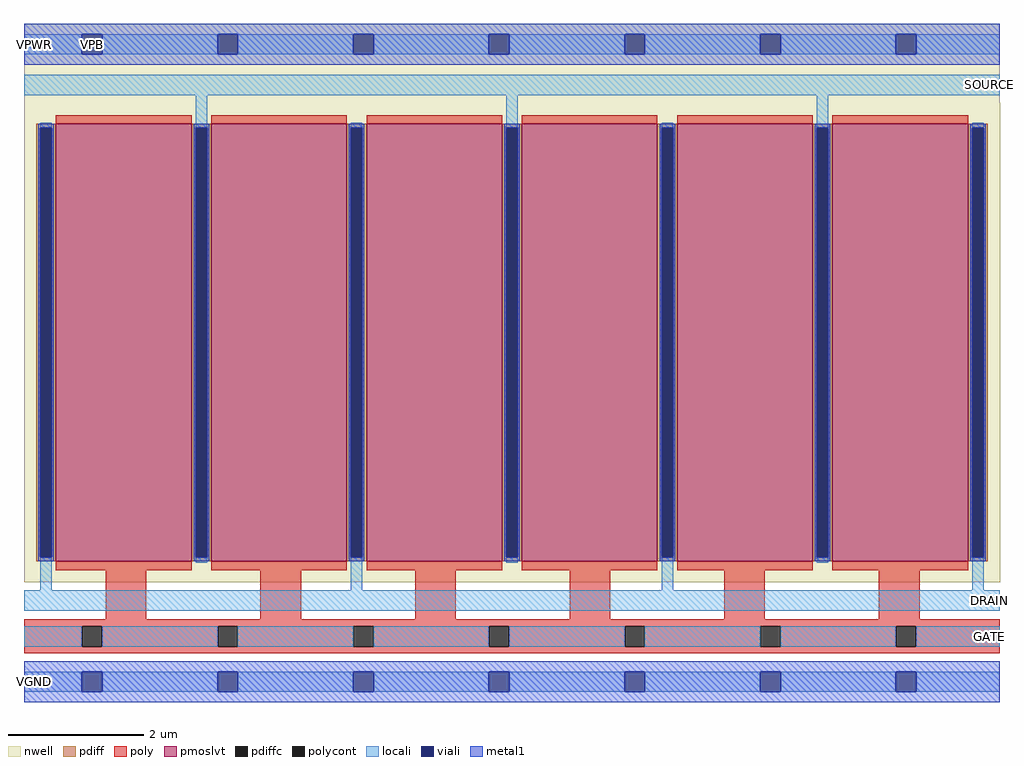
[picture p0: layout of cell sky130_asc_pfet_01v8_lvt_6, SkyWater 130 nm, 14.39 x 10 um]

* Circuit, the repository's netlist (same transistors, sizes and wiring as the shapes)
* NGSPICE file created from sky130_asc_pfet_01v8_lvt_6.ext - technology: sky130A

.subckt sky130_asc_pfet_01v8_lvt_6 GATE SOURCE DRAIN VGND VPWR
X0 SOURCE GATE DRAIN VPWR sky130_fd_pr__pfet_01v8_lvt ad=5.6115e+12p pd=4.044e+07u as=7.482e+12p ps=5.392e+07u w=6.45e+06u l=2e+06u
X1 SOURCE GATE DRAIN VPWR sky130_fd_pr__pfet_01v8_lvt ad=0p pd=0u as=0p ps=0u w=6.45e+06u l=2e+06u
X2 DRAIN GATE SOURCE VPWR sky130_fd_pr__pfet_01v8_lvt ad=0p pd=0u as=0p ps=0u w=6.45e+06u l=2e+06u
X3 DRAIN GATE SOURCE VPWR sky130_fd_pr__pfet_01v8_lvt ad=0p pd=0u as=0p ps=0u w=6.45e+06u l=2e+06u
X4 SOURCE GATE DRAIN VPWR sky130_fd_pr__pfet_01v8_lvt ad=0p pd=0u as=0p ps=0u w=6.45e+06u l=2e+06u
X5 DRAIN GATE SOURCE VPWR sky130_fd_pr__pfet_01v8_lvt ad=0p pd=0u as=0p ps=0u w=6.45e+06u l=2e+06u
.ends

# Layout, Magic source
magic
tech sky130A
magscale 1 2
<< nwell >>
rect 2 1707 2878 1940
rect 1 293 2879 1707
<< pmoslvt >>
rect 95 355 495 1645
rect 553 355 953 1645
rect 1011 355 1411 1645
rect 1469 355 1869 1645
rect 1927 355 2327 1645
rect 2385 355 2785 1645
<< pdiff >>
rect 37 1633 95 1645
rect 37 367 49 1633
rect 83 367 95 1633
rect 37 355 95 367
rect 495 1633 553 1645
rect 495 367 507 1633
rect 541 367 553 1633
rect 495 355 553 367
rect 953 1633 1011 1645
rect 953 367 965 1633
rect 999 367 1011 1633
rect 953 355 1011 367
rect 1411 1633 1469 1645
rect 1411 367 1423 1633
rect 1457 367 1469 1633
rect 1411 355 1469 367
rect 1869 1633 1927 1645
rect 1869 367 1881 1633
rect 1915 367 1927 1633
rect 1869 355 1927 367
rect 2327 1633 2385 1645
rect 2327 367 2339 1633
rect 2373 367 2385 1633
rect 2327 355 2385 367
rect 2785 1633 2843 1645
rect 2785 367 2797 1633
rect 2831 367 2843 1633
rect 2785 355 2843 367
<< pdiffc >>
rect 49 367 83 1633
rect 507 367 541 1633
rect 965 367 999 1633
rect 1423 367 1457 1633
rect 1881 367 1915 1633
rect 2339 367 2373 1633
rect 2797 367 2831 1633
<< poly >>
rect 95 1645 495 1671
rect 553 1645 953 1671
rect 1011 1645 1411 1671
rect 1469 1645 1869 1671
rect 1927 1645 2327 1671
rect 2385 1645 2785 1671
rect 95 329 495 355
rect 553 329 953 355
rect 1011 329 1411 355
rect 1469 329 1869 355
rect 1927 329 2327 355
rect 2385 329 2785 355
rect 242 184 362 329
rect 698 184 818 329
rect 1154 184 1274 329
rect 1610 184 1730 329
rect 2066 184 2186 329
rect 2522 184 2642 329
rect 2 164 2878 184
rect 2 104 172 164
rect 232 104 572 164
rect 632 104 972 164
rect 1032 104 1372 164
rect 1432 104 1772 164
rect 1832 104 2172 164
rect 2232 104 2572 164
rect 2632 104 2878 164
rect 2 84 2878 104
<< polycont >>
rect 172 104 232 164
rect 572 104 632 164
rect 972 104 1032 164
rect 1372 104 1432 164
rect 1772 104 1832 164
rect 2172 104 2232 164
rect 2572 104 2632 164
<< locali >>
rect 2 1850 172 1910
rect 232 1850 572 1910
rect 632 1850 972 1910
rect 1032 1850 1372 1910
rect 1432 1850 1772 1910
rect 1832 1850 2172 1910
rect 2232 1850 2572 1910
rect 2632 1850 2878 1910
rect 2 1730 2878 1790
rect 49 1633 83 1649
rect 49 270 83 367
rect 507 1633 541 1730
rect 507 351 541 367
rect 965 1633 999 1649
rect 965 270 999 367
rect 1423 1633 1457 1730
rect 1423 351 1457 367
rect 1881 1633 1915 1649
rect 1881 270 1915 367
rect 2339 1633 2373 1730
rect 2339 351 2373 367
rect 2797 1633 2831 1649
rect 2797 270 2831 367
rect 2 210 2878 270
rect 2 104 172 164
rect 232 104 572 164
rect 632 104 972 164
rect 1032 104 1372 164
rect 1432 104 1772 164
rect 1832 104 2172 164
rect 2232 104 2572 164
rect 2632 104 2878 164
rect 2 -30 172 30
rect 232 -30 572 30
rect 632 -30 972 30
rect 1032 -30 1372 30
rect 1432 -30 1772 30
rect 1832 -30 2172 30
rect 2232 -30 2572 30
rect 2632 -30 2878 30
<< viali >>
rect 172 1850 232 1910
rect 572 1850 632 1910
rect 972 1850 1032 1910
rect 1372 1850 1432 1910
rect 1772 1850 1832 1910
rect 2172 1850 2232 1910
rect 2572 1850 2632 1910
rect 49 367 83 1633
rect 507 367 541 1633
rect 965 367 999 1633
rect 1423 367 1457 1633
rect 1881 367 1915 1633
rect 2339 367 2373 1633
rect 2797 367 2831 1633
rect 172 -30 232 30
rect 572 -30 632 30
rect 972 -30 1032 30
rect 1372 -30 1432 30
rect 1772 -30 1832 30
rect 2172 -30 2232 30
rect 2572 -30 2632 30
<< metal1 >>
rect 2 1910 2878 1940
rect 2 1850 172 1910
rect 232 1850 572 1910
rect 632 1850 972 1910
rect 1032 1850 1372 1910
rect 1432 1850 1772 1910
rect 1832 1850 2172 1910
rect 2232 1850 2572 1910
rect 2632 1850 2878 1910
rect 2 1820 2878 1850
rect 43 1633 89 1645
rect 43 367 49 1633
rect 83 367 89 1633
rect 43 355 89 367
rect 501 1633 547 1645
rect 501 367 507 1633
rect 541 367 547 1633
rect 501 355 547 367
rect 959 1633 1005 1645
rect 959 367 965 1633
rect 999 367 1005 1633
rect 959 355 1005 367
rect 1417 1633 1463 1645
rect 1417 367 1423 1633
rect 1457 367 1463 1633
rect 1417 355 1463 367
rect 1875 1633 1921 1645
rect 1875 367 1881 1633
rect 1915 367 1921 1633
rect 1875 355 1921 367
rect 2333 1633 2379 1645
rect 2333 367 2339 1633
rect 2373 367 2379 1633
rect 2333 355 2379 367
rect 2791 1633 2837 1645
rect 2791 367 2797 1633
rect 2831 367 2837 1633
rect 2791 355 2837 367
rect 2 30 2878 60
rect 2 -30 172 30
rect 232 -30 572 30
rect 632 -30 972 30
rect 1032 -30 1372 30
rect 1432 -30 1772 30
rect 1832 -30 2172 30
rect 2232 -30 2572 30
rect 2632 -30 2878 30
rect 2 -60 2878 -30
<< labels >>
flabel nwell 172 1850 232 1910 1 FreeSans 800 0 0 0 VPB
port 4 n power bidirectional
flabel metal1 2 1850 62 1910 1 FreeSans 800 0 0 0 VPWR
port 5 n power bidirectional
flabel metal1 2 -30 62 30 1 FreeSans 800 0 0 0 VGND
port 6 n ground bidirectional
flabel locali 2818 1730 2878 1790 1 FreeSans 800 0 0 0 SOURCE
port 2 n signal bidirectional
flabel locali 2818 210 2878 270 1 FreeSans 800 0 0 0 DRAIN
port 3 n signal bidirectional
flabel locali 2818 104 2878 164 1 FreeSans 800 0 0 0 GATE
port 1 n signal bidirectional
<< properties >>
string FIXED_BBOX 0 0 588 1880
string LEFclass CORE
string LEFsite unitasc
<< end >>
